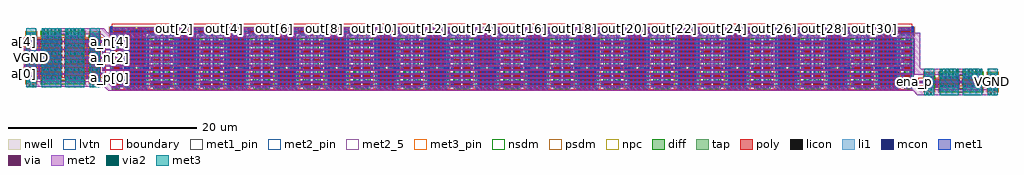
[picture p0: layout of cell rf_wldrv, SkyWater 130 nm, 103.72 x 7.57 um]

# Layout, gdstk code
from math import pi, radians
import gdstk
lib = gdstk.Library(unit=1e-6, precision=1e-09)
def R(c, l, rs):  # rectangles x0, y0, x1, y1
    for r in rs: c.add(gdstk.rectangle(r[:2], r[2:], *l))
def A(c, l, x, y, w, h, nx, ny, dx, dy):  # array of equal rectangles
    R(c, l, [(x+i*dx, y+j*dy, x+i*dx+w, y+j*dy+h) for i in range(nx) for j in range(ny)])
def P(c, l, *ps):  # polygons
    for p in ps: c.add(gdstk.Polygon(p, *l))
nwell = (64, 20)
diff = (65, 20)
tap = (65, 44)
poly = (66, 20)
licon = (66, 44)
li1 = (67, 20)
mcon = (67, 44)
met1_pin = (68, 16)
met1 = (68, 20)
via = (68, 44)
met2_5 = (69, 5)
met2_pin = (69, 16)
met2 = (69, 20)
via2 = (69, 44)
met3_pin = (70, 16)
met3 = (70, 20)
nsdm = (93, 44)
psdm = (94, 20)
npc = (95, 20)
lvtn = (125, 44)
boundary = (235, 4)

rf_drv_tap = lib.new_cell('rf_drv_tap')
R(rf_drv_tap, nwell, [(1.765,-0.29,6.595,0.615)])
R(rf_drv_tap, diff, [(0.305,0.18,1.305,0.305), (1.945,0.18,3.945,0.435), (4.415,0.18,6.415,0.435), (7.055,0.18,8.055,0.305)])
R(rf_drv_tap, tap, [(0.305,-0.11,1.305,0.18), (1.945,-0.11,3.945,0.18), (4.415,-0.11,6.415,0.18), (7.055,-0.11,8.055,0.18)])
A(rf_drv_tap, licon, 2.18, -0.085, 0.17, 0.17, 5, 1, 0.34, 0)
A(rf_drv_tap, licon, 4.65, -0.085, 0.17, 0.17, 5, 1, 0.34, 0)
R(rf_drv_tap, licon, [(0.55,-0.085,0.72,0.085), (0.89,-0.085,1.06,0.085), (7.3,-0.085,7.47,0.085), (7.64,-0.085,7.81,0.085)])
R(rf_drv_tap, li1, [(0.345,-0.085,1.265,0.345), (1.985,-0.085,3.905,0.345), (4.455,-0.085,6.375,0.345), (7.095,-0.085,8.015,0.345)])
R(rf_drv_tap, nsdm, [(1.82,-0.235,6.54,0.18), (0.18,0.18,1.43,0.43), (6.93,0.18,8.18,0.43)])
R(rf_drv_tap, psdm, [(0.18,-0.235,1.43,0.18), (6.93,-0.235,8.18,0.18), (1.82,0.18,6.54,0.56)])

rf_drv_inv = lib.new_cell('rf_drv_inv')
R(rf_drv_inv, nwell, [(1.74,-0.735,6.57,0.735)])
R(rf_drv_inv, diff, [(0.28,-0.555,1.28,0.555), (1.92,-0.555,3.92,0.555), (4.39,-0.555,6.39,0.555), (7.03,-0.555,8.03,0.555)])
R(rf_drv_inv, poly, [(0.15,-0.29,4.05,-0.14), (4.26,-0.29,8.16,-0.14), (1.355,-0.14,1.845,0.14), (6.465,-0.14,6.955,0.14), (0.15,0.14,4.05,0.29), (4.26,0.14,8.16,0.29)])
A(rf_drv_inv, licon, 0.355, -0.515, 0.17, 0.17, 3, 3, 0.34, 0.43)
A(rf_drv_inv, licon, 1.985, -0.515, 0.17, 0.17, 6, 3, 0.34, 0.43)
A(rf_drv_inv, licon, 4.455, -0.515, 0.17, 0.17, 6, 3, 0.34, 0.43)
A(rf_drv_inv, licon, 7.105, -0.515, 0.17, 0.17, 3, 3, 0.34, 0.43)
R(rf_drv_inv, licon, [(1.515,-0.085,1.685,0.085), (6.625,-0.085,6.795,0.085)])
A(rf_drv_inv, li1, 0.26, -0.515, 1.04, 0.17, 1, 3, 0, 0.43)
A(rf_drv_inv, li1, 1.9, -0.515, 2.04, 0.17, 1, 3, 0, 0.43)
A(rf_drv_inv, li1, 4.37, -0.515, 2.04, 0.17, 1, 3, 0, 0.43)
A(rf_drv_inv, li1, 7.01, -0.515, 1.04, 0.17, 1, 3, 0, 0.43)
R(rf_drv_inv, li1, [(1.515,-0.515,1.685,0.165), (6.625,-0.515,6.795,0.165)])
A(rf_drv_inv, mcon, 0.335, -0.515, 0.17, 0.17, 3, 3, 0.36, 0.43)
A(rf_drv_inv, mcon, 1.935, -0.515, 0.17, 0.17, 6, 3, 0.36, 0.43)
A(rf_drv_inv, mcon, 4.405, -0.515, 0.17, 0.17, 6, 3, 0.36, 0.43)
A(rf_drv_inv, mcon, 7.085, -0.515, 0.17, 0.17, 3, 3, 0.36, 0.43)
R(rf_drv_inv, mcon, [(1.515,-0.515,1.685,-0.345), (6.625,-0.515,6.795,-0.345)])
R(rf_drv_inv, met1, [(0.23,-0.59,1.33,-0.27), (1.47,-0.59,1.73,-0.27), (1.87,-0.59,3.97,-0.27), (4.34,-0.59,6.44,-0.27), (6.58,-0.59,6.84,-0.27), (6.98,-0.59,8.08,-0.27), (8.285,-0.13,8.605,-0.115), (0.2,-0.115,8.605,0.115), (8.285,0.115,8.605,0.13), (0.23,0.27,1.33,0.59), (1.87,0.27,3.97,0.59), (4.34,0.27,6.44,0.59), (6.98,0.27,8.08,0.59)])
A(rf_drv_inv, via, 0.385, -0.505, 0.15, 0.15, 3, 2, 0.32, 0.86)
A(rf_drv_inv, via, 2.045, -0.505, 0.15, 0.15, 6, 2, 0.32, 0.86)
A(rf_drv_inv, via, 4.515, -0.505, 0.15, 0.15, 6, 2, 0.32, 0.86)
A(rf_drv_inv, via, 7.135, -0.505, 0.15, 0.15, 3, 2, 0.32, 0.86)
R(rf_drv_inv, via, [(1.525,-0.505,1.675,-0.355), (6.635,-0.505,6.785,-0.355), (8.37,-0.075,8.52,0.075)])
R(rf_drv_inv, met2_pin, [(0,-0.085,0.1,0.085), (8.6,-0.085,8.7,0.085)])
R(rf_drv_inv, met2, [(0.23,-0.59,1.33,-0.27), (1.47,-0.59,1.73,-0.27), (1.87,-0.59,3.97,-0.27), (4.34,-0.59,6.44,-0.27), (6.58,-0.59,6.84,-0.27), (6.98,-0.59,8.08,-0.27), (1.515,-0.27,1.685,-0.085), (6.625,-0.27,6.795,-0.085), (8.285,-0.13,8.605,-0.085), (0,-0.085,6.795,0.085), (8.285,-0.085,8.7,0.085), (8.285,0.085,8.605,0.13), (0.23,0.27,1.33,0.59), (1.87,0.27,3.97,0.59), (4.34,0.27,6.44,0.59), (6.98,0.27,8.08,0.59)])
A(rf_drv_inv, via2, 2.02, -0.53, 0.2, 0.2, 5, 2, 0.4, 0.86)
A(rf_drv_inv, via2, 4.49, -0.53, 0.2, 0.2, 5, 2, 0.4, 0.86)
R(rf_drv_inv, via2, [(0.48,-0.53,0.68,-0.33), (0.88,-0.53,1.08,-0.33), (7.23,-0.53,7.43,-0.33), (7.63,-0.53,7.83,-0.33), (0.48,0.33,0.68,0.53), (0.88,0.33,1.08,0.53), (7.23,0.33,7.43,0.53), (7.63,0.33,7.83,0.53)])
R(rf_drv_inv, met3_pin, [(0.25,-0.595,1.31,0.595), (1.89,-0.595,3.95,0.595), (4.36,-0.595,6.42,0.595), (7,-0.595,8.06,0.595)])
R(rf_drv_inv, met3, [(0.25,-0.595,1.31,0.595), (1.89,-0.595,3.95,0.595), (4.36,-0.595,6.42,0.595), (7,-0.595,8.06,0.595)])
R(rf_drv_inv, nsdm, [(0.155,-0.68,1.405,0.68), (6.905,-0.68,8.155,0.68)])
R(rf_drv_inv, psdm, [(1.795,-0.68,6.515,0.68)])
R(rf_drv_inv, npc, [(1.415,-0.185,1.785,0.185), (6.525,-0.185,6.895,0.185)])
R(rf_drv_inv, boundary, [(0,-0.43,8.7,0.43)])
rf_drv_inv.add(gdstk.Label('VGND', (7.53,0), layer=70, texttype=5))
rf_drv_inv.add(gdstk.Label('VGND', (0.78,0), layer=70, texttype=5))
rf_drv_inv.add(gdstk.Label('VDPWR', (5.39,0), layer=70, texttype=5))
rf_drv_inv.add(gdstk.Label('VDPWR', (2.92,0), layer=70, texttype=5))
rf_drv_inv.add(gdstk.Label('in', (0.05,0), layer=69, texttype=5))
rf_drv_inv.add(gdstk.Label('out_n', (8.65,0), layer=69, texttype=5))

rf_drv_dual_inv = lib.new_cell('rf_drv_dual_inv')
R(rf_drv_dual_inv, nwell, [(1.74,-0.735,6.57,0.735)])
R(rf_drv_dual_inv, diff, [(0.28,-0.555,1.28,0.555), (1.92,-0.555,3.92,0.555), (4.39,-0.555,6.39,0.555), (7.03,-0.555,8.03,0.555)])
R(rf_drv_dual_inv, poly, [(0.15,-0.29,4.05,-0.14), (4.26,-0.29,8.16,-0.14), (1.355,-0.14,1.845,0.14), (6.465,-0.14,6.955,0.14), (0.15,0.14,4.05,0.29), (4.26,0.14,8.16,0.29)])
A(rf_drv_dual_inv, licon, 0.355, -0.515, 0.17, 0.17, 3, 3, 0.34, 0.43)
A(rf_drv_dual_inv, licon, 1.985, -0.515, 0.17, 0.17, 6, 3, 0.34, 0.43)
A(rf_drv_dual_inv, licon, 4.455, -0.515, 0.17, 0.17, 6, 3, 0.34, 0.43)
A(rf_drv_dual_inv, licon, 7.105, -0.515, 0.17, 0.17, 3, 3, 0.34, 0.43)
R(rf_drv_dual_inv, licon, [(1.515,-0.085,1.685,0.085), (6.625,-0.085,6.795,0.085)])
A(rf_drv_dual_inv, li1, 0.26, -0.515, 1.04, 0.17, 1, 3, 0, 0.43)
A(rf_drv_dual_inv, li1, 1.9, -0.515, 2.04, 0.17, 1, 3, 0, 0.43)
A(rf_drv_dual_inv, li1, 4.37, -0.515, 2.04, 0.17, 1, 3, 0, 0.43)
A(rf_drv_dual_inv, li1, 7.01, -0.515, 1.04, 0.17, 1, 3, 0, 0.43)
R(rf_drv_dual_inv, li1, [(1.515,-0.515,1.685,0.165), (6.625,-0.515,6.795,0.165)])
A(rf_drv_dual_inv, mcon, 0.335, -0.515, 0.17, 0.17, 3, 3, 0.36, 0.43)
A(rf_drv_dual_inv, mcon, 1.935, -0.515, 0.17, 0.17, 6, 3, 0.36, 0.43)
A(rf_drv_dual_inv, mcon, 4.405, -0.515, 0.17, 0.17, 6, 3, 0.36, 0.43)
A(rf_drv_dual_inv, mcon, 7.085, -0.515, 0.17, 0.17, 3, 3, 0.36, 0.43)
R(rf_drv_dual_inv, mcon, [(1.515,-0.515,1.685,-0.345), (6.625,-0.515,6.795,-0.345)])
R(rf_drv_dual_inv, met1, [(0.23,-0.59,1.33,-0.27), (1.47,-0.59,1.73,-0.27), (1.87,-0.59,3.97,-0.27), (4.34,-0.59,6.44,-0.27), (6.58,-0.59,6.84,-0.27), (6.98,-0.59,8.08,-0.27), (8.315,-0.59,8.575,-0.27), (8.33,-0.27,8.56,-0.115), (3.68,-0.13,4,-0.115), (0.2,-0.115,4,0.115), (4.31,-0.115,8.56,0.115), (3.68,0.115,4,0.13), (0.23,0.27,1.33,0.59), (1.87,0.27,3.97,0.59), (4.34,0.27,6.44,0.59), (6.98,0.27,8.08,0.59)])
A(rf_drv_dual_inv, via, 0.385, -0.505, 0.15, 0.15, 3, 2, 0.32, 0.86)
A(rf_drv_dual_inv, via, 2.045, -0.505, 0.15, 0.15, 6, 2, 0.32, 0.86)
A(rf_drv_dual_inv, via, 4.515, -0.505, 0.15, 0.15, 6, 2, 0.32, 0.86)
A(rf_drv_dual_inv, via, 7.135, -0.505, 0.15, 0.15, 3, 2, 0.32, 0.86)
R(rf_drv_dual_inv, via, [(1.525,-0.505,1.675,-0.355), (6.635,-0.505,6.785,-0.355), (8.37,-0.505,8.52,-0.355), (3.765,-0.075,3.915,0.075)])
R(rf_drv_dual_inv, met2_pin, [(8.6,-0.515,8.7,-0.345), (0,-0.085,0.1,0.085), (8.6,-0.085,8.7,0.085)])
R(rf_drv_dual_inv, met2, [(0.23,-0.59,1.33,-0.27), (1.47,-0.59,1.73,-0.27), (1.87,-0.59,3.97,-0.27), (4.34,-0.59,6.44,-0.27), (6.58,-0.59,6.84,-0.27), (6.98,-0.59,8.08,-0.27), (8.315,-0.59,8.575,-0.515), (8.315,-0.515,8.7,-0.345), (8.315,-0.345,8.575,-0.27), (1.515,-0.27,1.685,-0.085), (6.625,-0.27,6.795,-0.085), (3.68,-0.13,4,-0.085), (0,-0.085,1.685,0.085), (3.68,-0.085,8.7,0.085), (3.68,0.085,4,0.13), (0.23,0.27,1.33,0.59), (1.87,0.27,3.97,0.59), (4.34,0.27,6.44,0.59), (6.98,0.27,8.08,0.59)])
A(rf_drv_dual_inv, via2, 2.02, -0.53, 0.2, 0.2, 5, 2, 0.4, 0.86)
A(rf_drv_dual_inv, via2, 4.49, -0.53, 0.2, 0.2, 5, 2, 0.4, 0.86)
R(rf_drv_dual_inv, via2, [(0.48,-0.53,0.68,-0.33), (0.88,-0.53,1.08,-0.33), (7.23,-0.53,7.43,-0.33), (7.63,-0.53,7.83,-0.33), (0.48,0.33,0.68,0.53), (0.88,0.33,1.08,0.53), (7.23,0.33,7.43,0.53), (7.63,0.33,7.83,0.53)])
R(rf_drv_dual_inv, met3_pin, [(0.25,-0.595,1.31,0.595), (1.89,-0.595,3.95,0.595), (4.36,-0.595,6.42,0.595), (7,-0.595,8.06,0.595)])
R(rf_drv_dual_inv, met3, [(0.25,-0.595,1.31,0.595), (1.89,-0.595,3.95,0.595), (4.36,-0.595,6.42,0.595), (7,-0.595,8.06,0.595)])
R(rf_drv_dual_inv, nsdm, [(0.155,-0.68,1.405,0.68), (6.905,-0.68,8.155,0.68)])
R(rf_drv_dual_inv, psdm, [(1.795,-0.68,6.515,0.68)])
R(rf_drv_dual_inv, npc, [(1.415,-0.185,1.785,0.185), (6.525,-0.185,6.895,0.185)])
R(rf_drv_dual_inv, boundary, [(0,-0.43,8.7,0.43)])
rf_drv_dual_inv.add(gdstk.Label('VGND', (7.53,0), layer=70, texttype=5))
rf_drv_dual_inv.add(gdstk.Label('VGND', (0.78,0), layer=70, texttype=5))
rf_drv_dual_inv.add(gdstk.Label('VDPWR', (5.39,0), layer=70, texttype=5))
rf_drv_dual_inv.add(gdstk.Label('VDPWR', (2.92,0), layer=70, texttype=5))
rf_drv_dual_inv.add(gdstk.Label('in', (0.05,0), layer=69, texttype=5))
rf_drv_dual_inv.add(gdstk.Label('out_n', (8.65,0), layer=69, texttype=5))
rf_drv_dual_inv.add(gdstk.Label('out_p', (8.65,-0.43), layer=69, texttype=5))

rf_adec_dyn = lib.new_cell('rf_adec_dyn')
R(rf_adec_dyn, nwell, [(1.17,2.515,2.965,5.675), (-0.305,5.675,2.965,6.72)])
A(rf_adec_dyn, diff, 0.235, 0.465, 0.52, 0.3, 1, 6, 0, 0.86)
A(rf_adec_dyn, diff, 0.145, 0.765, 0.61, 0.56, 1, 5, 0, 0.86)
R(rf_adec_dyn, diff, [(0.145,0.195,0.755,0.465), (1.64,0.235,2.785,2.065), (1.64,2.695,2.785,5.435), (0.145,5.065,0.755,5.335), (1.35,5.435,2.785,5.585), (1.64,5.585,2.785,6.395), (0.32,5.855,1.37,6.54)])
R(rf_adec_dyn, tap, [(1.35,0.235,1.64,2.065), (1.35,2.695,1.64,5.435)])
A(rf_adec_dyn, poly, 0.105, 0.54, 1.06, 0.15, 1, 6, 0, 0.86)
R(rf_adec_dyn, poly, [(1.94,0.105,2.09,2.14), (2.37,0.105,2.52,2.14), (0.895,0.45,1.165,0.54), (0.895,0.69,1.165,0.78), (0.895,1.31,1.165,1.4), (0.895,1.55,1.165,1.64), (1.94,2.14,2.52,2.24), (0.895,2.17,1.165,2.26), (1.925,2.24,2.535,2.51), (0.895,2.41,1.165,2.5), (1.94,2.51,2.52,2.62), (1.94,2.62,2.09,6.525), (2.37,2.62,2.52,6.525), (0.895,3.03,1.165,3.12), (0.895,3.27,1.165,3.36), (0.895,3.89,1.165,3.98), (0.895,4.13,1.165,4.22), (0.895,4.75,1.165,4.84), (0.895,4.99,1.165,5.08), (-0.165,5.705,0.165,6.12), (-0.165,6.12,1.5,6.27), (-0.165,6.27,0.165,6.67)])
A(rf_adec_dyn, licon, 1.37, 0.385, 0.17, 0.17, 1, 5, 0, 0.34)
A(rf_adec_dyn, licon, 1.715, 0.385, 0.17, 0.17, 3, 5, 0.43, 0.34)
A(rf_adec_dyn, licon, 0.945, 0.53, 0.17, 0.17, 1, 6, 0, 0.86)
A(rf_adec_dyn, licon, 0.375, 0.745, 0.17, 0.17, 1, 10, 0, 0.43)
A(rf_adec_dyn, licon, 1.715, 2.76, 0.17, 0.17, 3, 11, 0.43, 0.34)
A(rf_adec_dyn, licon, 1.365, 2.82, 0.17, 0.17, 1, 8, 0, 0.34)
A(rf_adec_dyn, licon, -0.085, 5.77, 0.17, 0.17, 1, 3, 0, 0.34)
A(rf_adec_dyn, licon, 0.42, 5.895, 0.17, 0.17, 3, 2, 0.34, 0.43)
R(rf_adec_dyn, licon, [(0.205,0.255,0.375,0.425), (0.545,0.255,0.715,0.425), (1.975,2.29,2.145,2.46), (2.315,2.29,2.485,2.46), (0.205,5.105,0.375,5.275), (0.545,5.105,0.715,5.275)])
A(rf_adec_dyn, li1, 0.945, 0.29, 0.17, 0.65, 1, 6, 0, 0.86)
A(rf_adec_dyn, li1, 0.295, 0.745, 0.33, 0.6, 1, 5, 0, 0.86)
R(rf_adec_dyn, li1, [(0,0.175,0.715,0.505), (1.365,0.215,1.885,2.085), (2.145,0.215,2.315,2.085), (2.575,0.215,2.745,2.085), (1.315,2.29,2.565,2.46), (1.365,2.675,1.885,5.455), (2.145,2.675,2.315,6.415), (2.575,2.675,2.745,6.415), (0.205,5.015,0.715,5.355), (0.3,5.355,0.715,5.725), (1.715,5.455,1.885,6.325), (-0.085,5.69,0.085,6.7), (0.3,5.725,1.39,6.065), (0.3,6.325,1.885,6.495)])
A(rf_adec_dyn, mcon, 1.715, 0.345, 0.17, 0.17, 1, 5, 0, 0.36)
A(rf_adec_dyn, mcon, 2.575, 0.345, 0.17, 0.17, 1, 5, 0, 0.36)
A(rf_adec_dyn, mcon, 2.145, 0.37, 0.17, 0.17, 1, 5, 0, 0.36)
A(rf_adec_dyn, mcon, 2.145, 2.84, 0.17, 0.17, 1, 10, 0, 0.36)
A(rf_adec_dyn, mcon, 2.575, 2.84, 0.17, 0.17, 1, 10, 0, 0.36)
A(rf_adec_dyn, mcon, 1.715, 2.925, 0.17, 0.17, 1, 9, 0, 0.36)
A(rf_adec_dyn, mcon, -0.085, 5.75, 0.17, 0.17, 1, 3, 0, 0.36)
A(rf_adec_dyn, mcon, 0.36, 6.325, 0.17, 0.17, 3, 1, 0.36, 0)
R(rf_adec_dyn, mcon, [(0.125,0.255,0.295,0.425), (0.485,0.255,0.655,0.425), (0.945,0.35,1.115,0.52), (0.945,0.71,1.115,0.88), (0.945,1.21,1.115,1.38), (0.945,1.57,1.115,1.74), (0.945,2.07,1.115,2.24), (1.38,2.29,1.55,2.46), (1.74,2.29,1.91,2.46), (0.945,2.43,1.115,2.6), (0.945,2.93,1.115,3.1), (0.945,3.29,1.115,3.46), (0.945,3.79,1.115,3.96), (0.945,4.15,1.115,4.32), (0.945,4.65,1.115,4.82), (0.945,5.01,1.115,5.18), (0.485,5.095,0.655,5.265), (0.485,5.455,0.655,5.625), (0.36,5.895,0.53,6.065), (0.72,5.895,0.89,6.065)])
A(rf_adec_dyn, met1_pin, 0.885, 0.29, 0.29, 0.65, 1, 6, 0, 0.86)
A(rf_adec_dyn, met1, 0.885, 1.15, 0.29, 0.65, 1, 5, 0, 0.86)
R(rf_adec_dyn, met1, [(1.54,-0.115,2.82,0.145), (1.685,0.145,1.915,2.065), (2.545,0.145,2.775,2.065), (0,0.195,0.715,0.485), (2.115,0.285,2.345,6.35), (0.885,0.29,1.175,0.71), (-0.115,0.71,1.175,0.94), (-0.115,0.94,0.23,5.6), (1.315,2.23,1.975,2.52), (1.315,2.52,1.545,5.495), (1.685,2.695,1.915,5.445), (2.545,2.695,2.775,5.445), (0.455,4.955,0.685,5.495), (1.685,5.445,1.945,5.98), (2.53,5.445,2.79,6.105), (0.455,5.495,1.545,5.725), (-0.115,5.6,0.125,5.705), (-0.115,5.705,0.115,6.76), (0.455,5.725,1.01,5.865), (0.3,5.865,1.01,6.095), (1.24,5.98,1.945,6.105), (1.24,6.105,1.915,6.21), (2.545,6.105,2.775,6.395), (1.24,6.21,1.47,6.295), (0.3,6.295,1.47,6.525), (1.705,6.35,2.345,6.61)])
P(rf_adec_dyn, met1, [(0.115,5.715),(0.115,5.705),(0.125,5.705)],
  [(0.125,5.705),(0.125,5.6),(0.23,5.6)],
  [(0.23,1.18),(0.23,0.94),(0.47,0.94)])
A(rf_adec_dyn, via, 1.625, -0.06, 0.15, 0.15, 4, 1, 0.32, 0)
R(rf_adec_dyn, via, [(0.085,0.28,0.235,0.43), (0.405,0.28,0.555,0.43), (1.74,5.54,1.89,5.69), (2.585,5.54,2.735,5.69), (1.74,5.86,1.89,6.01), (2.585,5.86,2.735,6.01), (1.79,6.405,1.94,6.555), (2.11,6.405,2.26,6.555)])
R(rf_adec_dyn, met2_pin, [(0,-0.115,2.82,0.485), (0,5.475,2.82,6.075), (0.15,6.34,2.51,6.62)])
A(rf_adec_dyn, met2, 0, 0.745, 2.66, 0.17, 1, 11, 0, 0.43)
R(rf_adec_dyn, met2, [(0,-0.115,2.82,0.485), (0,5.475,2.82,6.075), (0.15,6.34,2.51,6.62)])
R(rf_adec_dyn, nsdm, [(0.02,0.07,0.88,2.57), (1.64,0.11,2.91,2.19), (0.02,2.57,1.64,5.435), (0.02,5.435,0.88,5.46)])
R(rf_adec_dyn, psdm, [(1.225,0.11,1.64,2.19), (1.64,2.57,2.91,5.435), (1.225,5.435,2.91,5.51), (1.17,5.51,2.91,5.73), (0.195,5.73,2.91,6.52), (0.195,6.52,1.495,6.665)])
A(rf_adec_dyn, npc, 0.845, 0.43, 0.37, 0.37, 1, 6, 0, 0.86)
R(rf_adec_dyn, npc, [(1.875,2.19,2.585,2.56), (-0.185,5.67,0.185,6.72)])
R(rf_adec_dyn, lvtn, [(0.055,0.36,0.935,5.17)])
R(rf_adec_dyn, boundary, [(0,0,2.66,7)])
rf_adec_dyn.add(gdstk.Label('VGND', (1.41,0.185), layer=69, texttype=5))
rf_adec_dyn.add(gdstk.Label('VDPWR', (1.41,5.775), layer=69, texttype=5))
rf_adec_dyn.add(gdstk.Label('ena', (1.03,0.615), layer=68, texttype=5))
rf_adec_dyn.add(gdstk.Label('a0', (1.03,1.475), layer=68, texttype=5))
rf_adec_dyn.add(gdstk.Label('a1', (1.03,2.335), layer=68, texttype=5))
rf_adec_dyn.add(gdstk.Label('a2', (1.03,3.195), layer=68, texttype=5))
rf_adec_dyn.add(gdstk.Label('a3', (1.03,4.055), layer=68, texttype=5))
rf_adec_dyn.add(gdstk.Label('a4', (1.03,4.915), layer=68, texttype=5))
rf_adec_dyn.add(gdstk.Label('out', (1.33,6.48), layer=69, texttype=5))

rf_adec_ckt = lib.new_cell('rf_adec_ckt')
R(rf_adec_ckt, met1, [(-0.13,-0.16,0.13,0.16)])
R(rf_adec_ckt, via, [(-0.075,-0.075,0.075,0.075)])
R(rf_adec_ckt, met2, [(-0.16,-0.13,0.16,0.13)])

rf_adec_ckt_array = lib.new_cell('rf_adec_ckt_array')
rf_adec_ckt_array.add(gdstk.Reference(rf_adec_ckt, (84.09,3.895)))
rf_adec_ckt_array.add(gdstk.Reference(rf_adec_ckt, (84.09,3.035)))
rf_adec_ckt_array.add(gdstk.Reference(rf_adec_ckt, (84.09,2.175)))
rf_adec_ckt_array.add(gdstk.Reference(rf_adec_ckt, (84.09,1.315)))
rf_adec_ckt_array.add(gdstk.Reference(rf_adec_ckt, (84.09,0.455)))
rf_adec_ckt_array.add(gdstk.Reference(rf_adec_ckt, (80.83,3.895)))
rf_adec_ckt_array.add(gdstk.Reference(rf_adec_ckt, (80.83,3.035)))
rf_adec_ckt_array.add(gdstk.Reference(rf_adec_ckt, (80.83,2.175)))
rf_adec_ckt_array.add(gdstk.Reference(rf_adec_ckt, (80.83,1.315)))
rf_adec_ckt_array.add(gdstk.Reference(rf_adec_ckt, (80.83,0.775)))
rf_adec_ckt_array.add(gdstk.Reference(rf_adec_ckt, (78.77,3.895)))
rf_adec_ckt_array.add(gdstk.Reference(rf_adec_ckt, (78.77,3.035)))
rf_adec_ckt_array.add(gdstk.Reference(rf_adec_ckt, (78.77,2.175)))
rf_adec_ckt_array.add(gdstk.Reference(rf_adec_ckt, (78.77,1.635)))
rf_adec_ckt_array.add(gdstk.Reference(rf_adec_ckt, (78.77,0.455)))
rf_adec_ckt_array.add(gdstk.Reference(rf_adec_ckt, (75.51,3.895)))
rf_adec_ckt_array.add(gdstk.Reference(rf_adec_ckt, (75.51,3.035)))
rf_adec_ckt_array.add(gdstk.Reference(rf_adec_ckt, (75.51,2.175)))
rf_adec_ckt_array.add(gdstk.Reference(rf_adec_ckt, (75.51,1.635)))
rf_adec_ckt_array.add(gdstk.Reference(rf_adec_ckt, (75.51,0.775)))
rf_adec_ckt_array.add(gdstk.Reference(rf_adec_ckt, (73.45,3.895)))
rf_adec_ckt_array.add(gdstk.Reference(rf_adec_ckt, (73.45,3.035)))
rf_adec_ckt_array.add(gdstk.Reference(rf_adec_ckt, (73.45,2.495)))
rf_adec_ckt_array.add(gdstk.Reference(rf_adec_ckt, (73.45,1.315)))
rf_adec_ckt_array.add(gdstk.Reference(rf_adec_ckt, (73.45,0.455)))
rf_adec_ckt_array.add(gdstk.Reference(rf_adec_ckt, (70.19,3.895)))
rf_adec_ckt_array.add(gdstk.Reference(rf_adec_ckt, (70.19,3.035)))
rf_adec_ckt_array.add(gdstk.Reference(rf_adec_ckt, (70.19,2.495)))
rf_adec_ckt_array.add(gdstk.Reference(rf_adec_ckt, (70.19,1.315)))
rf_adec_ckt_array.add(gdstk.Reference(rf_adec_ckt, (70.19,0.775)))
rf_adec_ckt_array.add(gdstk.Reference(rf_adec_ckt, (68.13,3.895)))
rf_adec_ckt_array.add(gdstk.Reference(rf_adec_ckt, (68.13,3.035)))
rf_adec_ckt_array.add(gdstk.Reference(rf_adec_ckt, (68.13,2.495)))
rf_adec_ckt_array.add(gdstk.Reference(rf_adec_ckt, (68.13,1.635)))
rf_adec_ckt_array.add(gdstk.Reference(rf_adec_ckt, (68.13,0.455)))
rf_adec_ckt_array.add(gdstk.Reference(rf_adec_ckt, (64.87,3.895)))
rf_adec_ckt_array.add(gdstk.Reference(rf_adec_ckt, (64.87,3.035)))
rf_adec_ckt_array.add(gdstk.Reference(rf_adec_ckt, (64.87,2.495)))
rf_adec_ckt_array.add(gdstk.Reference(rf_adec_ckt, (64.87,1.635)))
rf_adec_ckt_array.add(gdstk.Reference(rf_adec_ckt, (64.87,0.775)))
rf_adec_ckt_array.add(gdstk.Reference(rf_adec_ckt, (62.81,3.895)))
rf_adec_ckt_array.add(gdstk.Reference(rf_adec_ckt, (62.81,3.355)))
rf_adec_ckt_array.add(gdstk.Reference(rf_adec_ckt, (62.81,2.175)))
rf_adec_ckt_array.add(gdstk.Reference(rf_adec_ckt, (62.81,1.315)))
rf_adec_ckt_array.add(gdstk.Reference(rf_adec_ckt, (62.81,0.455)))
rf_adec_ckt_array.add(gdstk.Reference(rf_adec_ckt, (59.55,3.895)))
rf_adec_ckt_array.add(gdstk.Reference(rf_adec_ckt, (59.55,3.355)))
rf_adec_ckt_array.add(gdstk.Reference(rf_adec_ckt, (59.55,2.175)))
rf_adec_ckt_array.add(gdstk.Reference(rf_adec_ckt, (59.55,1.315)))
rf_adec_ckt_array.add(gdstk.Reference(rf_adec_ckt, (59.55,0.775)))
rf_adec_ckt_array.add(gdstk.Reference(rf_adec_ckt, (57.49,3.895)))
rf_adec_ckt_array.add(gdstk.Reference(rf_adec_ckt, (57.49,3.355)))
rf_adec_ckt_array.add(gdstk.Reference(rf_adec_ckt, (57.49,2.175)))
rf_adec_ckt_array.add(gdstk.Reference(rf_adec_ckt, (57.49,1.635)))
rf_adec_ckt_array.add(gdstk.Reference(rf_adec_ckt, (57.49,0.455)))
rf_adec_ckt_array.add(gdstk.Reference(rf_adec_ckt, (54.23,3.895)))
rf_adec_ckt_array.add(gdstk.Reference(rf_adec_ckt, (54.23,3.355)))
rf_adec_ckt_array.add(gdstk.Reference(rf_adec_ckt, (54.23,2.175)))
rf_adec_ckt_array.add(gdstk.Reference(rf_adec_ckt, (54.23,1.635)))
rf_adec_ckt_array.add(gdstk.Reference(rf_adec_ckt, (54.23,0.775)))
rf_adec_ckt_array.add(gdstk.Reference(rf_adec_ckt, (52.17,3.895)))
rf_adec_ckt_array.add(gdstk.Reference(rf_adec_ckt, (52.17,3.355)))
rf_adec_ckt_array.add(gdstk.Reference(rf_adec_ckt, (52.17,2.495)))
rf_adec_ckt_array.add(gdstk.Reference(rf_adec_ckt, (52.17,1.315)))
rf_adec_ckt_array.add(gdstk.Reference(rf_adec_ckt, (52.17,0.455)))
rf_adec_ckt_array.add(gdstk.Reference(rf_adec_ckt, (48.91,3.895)))
rf_adec_ckt_array.add(gdstk.Reference(rf_adec_ckt, (48.91,3.355)))
rf_adec_ckt_array.add(gdstk.Reference(rf_adec_ckt, (48.91,2.495)))
rf_adec_ckt_array.add(gdstk.Reference(rf_adec_ckt, (48.91,1.315)))
rf_adec_ckt_array.add(gdstk.Reference(rf_adec_ckt, (48.91,0.775)))
rf_adec_ckt_array.add(gdstk.Reference(rf_adec_ckt, (46.85,3.895)))
rf_adec_ckt_array.add(gdstk.Reference(rf_adec_ckt, (46.85,3.355)))
rf_adec_ckt_array.add(gdstk.Reference(rf_adec_ckt, (46.85,2.495)))
rf_adec_ckt_array.add(gdstk.Reference(rf_adec_ckt, (46.85,1.635)))
rf_adec_ckt_array.add(gdstk.Reference(rf_adec_ckt, (46.85,0.455)))
rf_adec_ckt_array.add(gdstk.Reference(rf_adec_ckt, (43.59,3.895)))
rf_adec_ckt_array.add(gdstk.Reference(rf_adec_ckt, (43.59,3.355)))
rf_adec_ckt_array.add(gdstk.Reference(rf_adec_ckt, (43.59,2.495)))
rf_adec_ckt_array.add(gdstk.Reference(rf_adec_ckt, (43.59,1.635)))
rf_adec_ckt_array.add(gdstk.Reference(rf_adec_ckt, (43.59,0.775)))
rf_adec_ckt_array.add(gdstk.Reference(rf_adec_ckt, (41.53,4.215)))
rf_adec_ckt_array.add(gdstk.Reference(rf_adec_ckt, (41.53,3.035)))
rf_adec_ckt_array.add(gdstk.Reference(rf_adec_ckt, (41.53,2.175)))
rf_adec_ckt_array.add(gdstk.Reference(rf_adec_ckt, (41.53,1.315)))
rf_adec_ckt_array.add(gdstk.Reference(rf_adec_ckt, (41.53,0.455)))
rf_adec_ckt_array.add(gdstk.Reference(rf_adec_ckt, (38.27,4.215)))
rf_adec_ckt_array.add(gdstk.Reference(rf_adec_ckt, (38.27,3.035)))
rf_adec_ckt_array.add(gdstk.Reference(rf_adec_ckt, (38.27,2.175)))
rf_adec_ckt_array.add(gdstk.Reference(rf_adec_ckt, (38.27,1.315)))
rf_adec_ckt_array.add(gdstk.Reference(rf_adec_ckt, (38.27,0.775)))
rf_adec_ckt_array.add(gdstk.Reference(rf_adec_ckt, (36.21,4.215)))
rf_adec_ckt_array.add(gdstk.Reference(rf_adec_ckt, (36.21,3.035)))
rf_adec_ckt_array.add(gdstk.Reference(rf_adec_ckt, (36.21,2.175)))
rf_adec_ckt_array.add(gdstk.Reference(rf_adec_ckt, (36.21,1.635)))
rf_adec_ckt_array.add(gdstk.Reference(rf_adec_ckt, (36.21,0.455)))
rf_adec_ckt_array.add(gdstk.Reference(rf_adec_ckt, (32.95,4.215)))
rf_adec_ckt_array.add(gdstk.Reference(rf_adec_ckt, (32.95,3.035)))
rf_adec_ckt_array.add(gdstk.Reference(rf_adec_ckt, (32.95,2.175)))
rf_adec_ckt_array.add(gdstk.Reference(rf_adec_ckt, (32.95,1.635)))
rf_adec_ckt_array.add(gdstk.Reference(rf_adec_ckt, (32.95,0.775)))
rf_adec_ckt_array.add(gdstk.Reference(rf_adec_ckt, (30.89,4.215)))
rf_adec_ckt_array.add(gdstk.Reference(rf_adec_ckt, (30.89,3.035)))
rf_adec_ckt_array.add(gdstk.Reference(rf_adec_ckt, (30.89,2.495)))
rf_adec_ckt_array.add(gdstk.Reference(rf_adec_ckt, (30.89,1.315)))
rf_adec_ckt_array.add(gdstk.Reference(rf_adec_ckt, (30.89,0.455)))
rf_adec_ckt_array.add(gdstk.Reference(rf_adec_ckt, (27.63,4.215)))
rf_adec_ckt_array.add(gdstk.Reference(rf_adec_ckt, (27.63,3.035)))
rf_adec_ckt_array.add(gdstk.Reference(rf_adec_ckt, (27.63,2.495)))
rf_adec_ckt_array.add(gdstk.Reference(rf_adec_ckt, (27.63,1.315)))
rf_adec_ckt_array.add(gdstk.Reference(rf_adec_ckt, (27.63,0.775)))
rf_adec_ckt_array.add(gdstk.Reference(rf_adec_ckt, (25.57,4.215)))
rf_adec_ckt_array.add(gdstk.Reference(rf_adec_ckt, (25.57,3.035)))
rf_adec_ckt_array.add(gdstk.Reference(rf_adec_ckt, (25.57,2.495)))
rf_adec_ckt_array.add(gdstk.Reference(rf_adec_ckt, (25.57,1.635)))
rf_adec_ckt_array.add(gdstk.Reference(rf_adec_ckt, (25.57,0.455)))
rf_adec_ckt_array.add(gdstk.Reference(rf_adec_ckt, (22.31,4.215)))
rf_adec_ckt_array.add(gdstk.Reference(rf_adec_ckt, (22.31,3.035)))
rf_adec_ckt_array.add(gdstk.Reference(rf_adec_ckt, (22.31,2.495)))
rf_adec_ckt_array.add(gdstk.Reference(rf_adec_ckt, (22.31,1.635)))
rf_adec_ckt_array.add(gdstk.Reference(rf_adec_ckt, (22.31,0.775)))
rf_adec_ckt_array.add(gdstk.Reference(rf_adec_ckt, (20.25,4.215)))
rf_adec_ckt_array.add(gdstk.Reference(rf_adec_ckt, (20.25,3.355)))
rf_adec_ckt_array.add(gdstk.Reference(rf_adec_ckt, (20.25,2.175)))
rf_adec_ckt_array.add(gdstk.Reference(rf_adec_ckt, (20.25,1.315)))
rf_adec_ckt_array.add(gdstk.Reference(rf_adec_ckt, (20.25,0.455)))
rf_adec_ckt_array.add(gdstk.Reference(rf_adec_ckt, (16.99,4.215)))
rf_adec_ckt_array.add(gdstk.Reference(rf_adec_ckt, (16.99,3.355)))
rf_adec_ckt_array.add(gdstk.Reference(rf_adec_ckt, (16.99,2.175)))
rf_adec_ckt_array.add(gdstk.Reference(rf_adec_ckt, (16.99,1.315)))
rf_adec_ckt_array.add(gdstk.Reference(rf_adec_ckt, (16.99,0.775)))
rf_adec_ckt_array.add(gdstk.Reference(rf_adec_ckt, (14.93,4.215)))
rf_adec_ckt_array.add(gdstk.Reference(rf_adec_ckt, (14.93,3.355)))
rf_adec_ckt_array.add(gdstk.Reference(rf_adec_ckt, (14.93,2.175)))
rf_adec_ckt_array.add(gdstk.Reference(rf_adec_ckt, (14.93,1.635)))
rf_adec_ckt_array.add(gdstk.Reference(rf_adec_ckt, (14.93,0.455)))
rf_adec_ckt_array.add(gdstk.Reference(rf_adec_ckt, (11.67,4.215)))
rf_adec_ckt_array.add(gdstk.Reference(rf_adec_ckt, (11.67,3.355)))
rf_adec_ckt_array.add(gdstk.Reference(rf_adec_ckt, (11.67,2.175)))
rf_adec_ckt_array.add(gdstk.Reference(rf_adec_ckt, (11.67,1.635)))
rf_adec_ckt_array.add(gdstk.Reference(rf_adec_ckt, (11.67,0.775)))
rf_adec_ckt_array.add(gdstk.Reference(rf_adec_ckt, (9.61,4.215)))
rf_adec_ckt_array.add(gdstk.Reference(rf_adec_ckt, (9.61,3.355)))
rf_adec_ckt_array.add(gdstk.Reference(rf_adec_ckt, (9.61,2.495)))
rf_adec_ckt_array.add(gdstk.Reference(rf_adec_ckt, (9.61,1.315)))
rf_adec_ckt_array.add(gdstk.Reference(rf_adec_ckt, (9.61,0.455)))
rf_adec_ckt_array.add(gdstk.Reference(rf_adec_ckt, (6.35,4.215)))
rf_adec_ckt_array.add(gdstk.Reference(rf_adec_ckt, (6.35,3.355)))
rf_adec_ckt_array.add(gdstk.Reference(rf_adec_ckt, (6.35,2.495)))
rf_adec_ckt_array.add(gdstk.Reference(rf_adec_ckt, (6.35,1.315)))
rf_adec_ckt_array.add(gdstk.Reference(rf_adec_ckt, (6.35,0.775)))
rf_adec_ckt_array.add(gdstk.Reference(rf_adec_ckt, (4.29,4.215)))
rf_adec_ckt_array.add(gdstk.Reference(rf_adec_ckt, (4.29,3.355)))
rf_adec_ckt_array.add(gdstk.Reference(rf_adec_ckt, (4.29,2.495)))
rf_adec_ckt_array.add(gdstk.Reference(rf_adec_ckt, (4.29,1.635)))
rf_adec_ckt_array.add(gdstk.Reference(rf_adec_ckt, (4.29,0.455)))
rf_adec_ckt_array.add(gdstk.Reference(rf_adec_ckt, (1.03,4.215)))
rf_adec_ckt_array.add(gdstk.Reference(rf_adec_ckt, (1.03,3.355)))
rf_adec_ckt_array.add(gdstk.Reference(rf_adec_ckt, (1.03,2.495)))
rf_adec_ckt_array.add(gdstk.Reference(rf_adec_ckt, (1.03,1.635)))
rf_adec_ckt_array.add(gdstk.Reference(rf_adec_ckt, (1.03,0.775)))

rf_wldrv = lib.new_cell('rf_wldrv')
A(rf_wldrv, met2_5, -0.2, 1.175, 0.2, 0.17, 1, 10, 0, 0.43)
R(rf_wldrv, met2_5, [(85.2,0.745,85.4,0.915)])
A(rf_wldrv, met2_pin, -9.3, 1.605, 0.1, 0.17, 1, 5, 0, 0.86)
A(rf_wldrv, met2_pin, 0.15, 6.34, 2.36, 0.28, 32, 1, 2.66, 0)
R(rf_wldrv, met2_pin, [(94.32,0.745,94.42,0.915)])
A(rf_wldrv, met2, -0.6, 1.175, 0.6, 0.17, 1, 10, 0, 0.43)
R(rf_wldrv, met2, [(85.65,-0.56,94.19,-0.115), (-0.335,-0.115,0,0.3), (85.12,-0.115,94.19,0.04), (85.12,0.04,85.455,0.485), (86.34,0.04,87.44,0.24), (93.09,0.04,94.19,0.24), (-9.07,0.3,0,0.485), (-9.07,0.485,-0.5,0.9), (85.12,0.745,85.72,0.915), (-9.07,0.9,-7.97,1.1), (-2.32,0.9,-1.22,1.1), (87.98,1.42,90.08,1.62), (90.45,1.42,92.55,1.62), (85.32,1.62,92.55,2.22), (85.32,2.22,85.92,5.475), (-0.655,5.475,0,5.72), (85.12,5.475,85.92,6.075), (-7.43,5.72,-5.33,5.92), (-4.96,5.72,-2.86,5.92), (-0.9,5.72,0,5.92), (-7.43,5.92,0,6.075), (-7.43,6.075,-0.85,6.52)])
P(rf_wldrv, met2, [(-0.85,6.52),(-0.85,6.075),(-0.405,6.075)],
  [(-1.1,5.92),(-0.9,5.92),(-0.9,5.72)],
  [(-0.9,5.72),(-0.655,5.72),(-0.655,5.475)],
  [(-0.5,0.9),(-0.5,0.485),(-0.085,0.485)],
  [(-0.75,0.3),(-0.335,0.3),(-0.335,-0.115)],
  [(85.455,0.485),(85.455,0.04),(85.9,0.04)],
  [(85.205,-0.115),(85.65,-0.115),(85.65,-0.56)])
A(rf_wldrv, via2, 88.13, 1.56, 0.2, 0.2, 5, 2, 0.4, 0.4)
A(rf_wldrv, via2, 90.6, 1.56, 0.2, 0.2, 5, 2, 0.4, 0.4)
A(rf_wldrv, via2, -7.28, 5.86, 0.2, 0.2, 5, 2, 0.4, 0.4)
A(rf_wldrv, via2, -4.81, 5.86, 0.2, 0.2, 5, 2, 0.4, 0.4)
R(rf_wldrv, via2, [(86.59,-0.5,86.79,-0.3), (86.99,-0.5,87.19,-0.3), (93.34,-0.5,93.54,-0.3), (93.74,-0.5,93.94,-0.3), (86.59,-0.1,86.79,0.1), (86.99,-0.1,87.19,0.1), (93.34,-0.1,93.54,0.1), (93.74,-0.1,93.94,0.1), (-8.82,0.36,-8.62,0.56), (-8.42,0.36,-8.22,0.56), (-2.07,0.36,-1.87,0.56), (-1.67,0.36,-1.47,0.56), (-8.82,0.76,-8.62,0.96), (-8.42,0.76,-8.22,0.96), (-2.07,0.76,-1.87,0.96), (-1.67,0.76,-1.47,0.96)])
R(rf_wldrv, met3_pin, [(86.36,0.235,87.42,1.425), (88,0.235,90.06,1.425), (90.47,0.235,92.53,1.425), (93.11,0.235,94.17,1.425), (-9.05,0.295,-7.99,6.525), (-7.41,0.295,-5.35,6.525), (-4.94,0.295,-2.88,6.525), (-2.3,0.295,-1.24,6.525)])
R(rf_wldrv, met3, [(86.36,-0.565,87.42,2.225), (88,-0.565,90.06,2.225), (90.47,-0.565,92.53,2.225), (93.11,-0.565,94.17,2.22), (-9.05,0.295,-7.99,6.525), (-7.41,0.295,-5.35,6.525), (-4.94,0.295,-2.88,6.525), (-2.3,0.295,-1.24,6.525)])
A(rf_wldrv, nsdm, 5.3, 0.07, 0.04, 5.39, 15, 1, 5.32, 0)
A(rf_wldrv, npc, 2.585, 2.19, 0.15, 0.37, 16, 1, 5.32, 0)
A(rf_wldrv, lvtn, 5.265, 0.36, 0.11, 4.81, 15, 1, 5.32, 0)
rf_wldrv.add(gdstk.Reference(rf_drv_tap, (94.445,-0.03), rotation=pi, x_reflection=True))
rf_wldrv.add(gdstk.Reference(rf_drv_tap, (94.445,1.69), rotation=pi))
rf_wldrv.add(gdstk.Reference(rf_drv_tap, (-9.325,0.83)))
rf_wldrv.add(gdstk.Reference(rf_drv_tap, (-9.325,5.99), x_reflection=True))
rf_wldrv.add(gdstk.Reference(rf_drv_inv, (94.42,0.83), rotation=pi, x_reflection=True))
rf_wldrv.add(gdstk.Reference(rf_drv_dual_inv, (-9.3,5.13)))
rf_wldrv.add(gdstk.Reference(rf_drv_dual_inv, (-9.3,4.27)))
rf_wldrv.add(gdstk.Reference(rf_drv_dual_inv, (-9.3,3.41)))
rf_wldrv.add(gdstk.Reference(rf_drv_dual_inv, (-9.3,2.55)))
rf_wldrv.add(gdstk.Reference(rf_drv_dual_inv, (-9.3,1.69)))
r = gdstk.Reference(rf_adec_dyn, (5.32,0), rotation=pi, x_reflection=True); r.repetition = gdstk.Repetition(16, 1, v1=(5.32,0), v2=(0,7)); rf_wldrv.add(r)
r = gdstk.Reference(rf_adec_dyn, (0,0)); r.repetition = gdstk.Repetition(16, 1, v1=(5.32,0), v2=(0,7)); rf_wldrv.add(r)
rf_wldrv.add(gdstk.Reference(rf_adec_ckt_array, (0,0.86)))
r = gdstk.Reference(rf_adec_ckt, (4.29,0.775)); r.repetition = gdstk.Repetition(16, 1, v1=(5.32,0), v2=(0,0.32)); rf_wldrv.add(r)
r = gdstk.Reference(rf_adec_ckt, (1.03,0.775)); r.repetition = gdstk.Repetition(16, 1, v1=(5.32,0), v2=(0,0.32)); rf_wldrv.add(r)
rf_wldrv.add(gdstk.Label('a_p[0]', (-0.1,1.26), layer=69, texttype=5))
rf_wldrv.add(gdstk.Label('a_n[0]', (-0.1,1.69), layer=69, texttype=5))
rf_wldrv.add(gdstk.Label('a_p[1]', (-0.1,2.12), layer=69, texttype=5))
rf_wldrv.add(gdstk.Label('a_n[1]', (-0.1,2.55), layer=69, texttype=5))
rf_wldrv.add(gdstk.Label('a_n[2]', (-0.1,3.41), layer=69, texttype=5))
rf_wldrv.add(gdstk.Label('a_p[2]', (-0.1,2.98), layer=69, texttype=5))
rf_wldrv.add(gdstk.Label('a_p[3]', (-0.1,3.84), layer=69, texttype=5))
rf_wldrv.add(gdstk.Label('a_n[3]', (-0.1,4.27), layer=69, texttype=5))
rf_wldrv.add(gdstk.Label('a_n[4]', (-0.1,5.13), layer=69, texttype=5))
rf_wldrv.add(gdstk.Label('a_p[4]', (-0.1,4.7), layer=69, texttype=5))
rf_wldrv.add(gdstk.Label('ena_p', (85.3,0.83), layer=69, texttype=5))
rf_wldrv.add(gdstk.Label('VGND', (93.64,0.83), layer=70, texttype=5))
rf_wldrv.add(gdstk.Label('VGND', (86.89,0.83), layer=70, texttype=5))
rf_wldrv.add(gdstk.Label('VGND', (-1.77,3.41), layer=70, texttype=5))
rf_wldrv.add(gdstk.Label('VGND', (-8.52,3.41), layer=70, texttype=5))
rf_wldrv.add(gdstk.Label('VDPWR', (91.5,0.83), layer=70, texttype=5))
rf_wldrv.add(gdstk.Label('VDPWR', (89.03,0.83), layer=70, texttype=5))
rf_wldrv.add(gdstk.Label('VDPWR', (-3.91,3.41), layer=70, texttype=5))
rf_wldrv.add(gdstk.Label('VDPWR', (-6.38,3.41), layer=70, texttype=5))
rf_wldrv.add(gdstk.Label('a[0]', (-9.25,1.69), layer=69, texttype=5))
rf_wldrv.add(gdstk.Label('a[1]', (-9.25,2.55), layer=69, texttype=5))
rf_wldrv.add(gdstk.Label('a[2]', (-9.25,3.41), layer=69, texttype=5))
rf_wldrv.add(gdstk.Label('a[3]', (-9.25,4.27), layer=69, texttype=5))
rf_wldrv.add(gdstk.Label('a[4]', (-9.25,5.13), layer=69, texttype=5))
rf_wldrv.add(gdstk.Label('ena_n', (94.37,0.83), layer=69, texttype=5))
rf_wldrv.add(gdstk.Label('out[0]', (1.33,6.48), layer=69, texttype=5))
rf_wldrv.add(gdstk.Label('out[1]', (3.99,6.48), layer=69, texttype=5))
rf_wldrv.add(gdstk.Label('out[2]', (6.65,6.48), layer=69, texttype=5))
rf_wldrv.add(gdstk.Label('out[3]', (9.31,6.48), layer=69, texttype=5))
rf_wldrv.add(gdstk.Label('out[4]', (11.97,6.48), layer=69, texttype=5))
rf_wldrv.add(gdstk.Label('out[5]', (14.63,6.48), layer=69, texttype=5))
rf_wldrv.add(gdstk.Label('out[6]', (17.29,6.48), layer=69, texttype=5))
rf_wldrv.add(gdstk.Label('out[7]', (19.95,6.48), layer=69, texttype=5))
rf_wldrv.add(gdstk.Label('out[8]', (22.61,6.48), layer=69, texttype=5))
rf_wldrv.add(gdstk.Label('out[9]', (25.27,6.48), layer=69, texttype=5))
rf_wldrv.add(gdstk.Label('out[10]', (27.93,6.48), layer=69, texttype=5))
rf_wldrv.add(gdstk.Label('out[11]', (30.59,6.48), layer=69, texttype=5))
rf_wldrv.add(gdstk.Label('out[12]', (33.25,6.48), layer=69, texttype=5))
rf_wldrv.add(gdstk.Label('out[13]', (35.91,6.48), layer=69, texttype=5))
rf_wldrv.add(gdstk.Label('out[14]', (38.57,6.48), layer=69, texttype=5))
rf_wldrv.add(gdstk.Label('out[15]', (41.23,6.48), layer=69, texttype=5))
rf_wldrv.add(gdstk.Label('out[16]', (43.89,6.48), layer=69, texttype=5))
rf_wldrv.add(gdstk.Label('out[17]', (46.55,6.48), layer=69, texttype=5))
rf_wldrv.add(gdstk.Label('out[18]', (49.21,6.48), layer=69, texttype=5))
rf_wldrv.add(gdstk.Label('out[19]', (51.87,6.48), layer=69, texttype=5))
rf_wldrv.add(gdstk.Label('out[20]', (54.53,6.48), layer=69, texttype=5))
rf_wldrv.add(gdstk.Label('out[21]', (57.19,6.48), layer=69, texttype=5))
rf_wldrv.add(gdstk.Label('out[22]', (59.85,6.48), layer=69, texttype=5))
rf_wldrv.add(gdstk.Label('out[23]', (62.51,6.48), layer=69, texttype=5))
rf_wldrv.add(gdstk.Label('out[24]', (65.17,6.48), layer=69, texttype=5))
rf_wldrv.add(gdstk.Label('out[25]', (67.83,6.48), layer=69, texttype=5))
rf_wldrv.add(gdstk.Label('out[26]', (70.49,6.48), layer=69, texttype=5))
rf_wldrv.add(gdstk.Label('out[27]', (73.15,6.48), layer=69, texttype=5))
rf_wldrv.add(gdstk.Label('out[28]', (75.81,6.48), layer=69, texttype=5))
rf_wldrv.add(gdstk.Label('out[29]', (78.47,6.48), layer=69, texttype=5))
rf_wldrv.add(gdstk.Label('out[30]', (81.13,6.48), layer=69, texttype=5))
rf_wldrv.add(gdstk.Label('out[31]', (83.79,6.48), layer=69, texttype=5))

lib.write_gds('rf_wldrv.gds')
